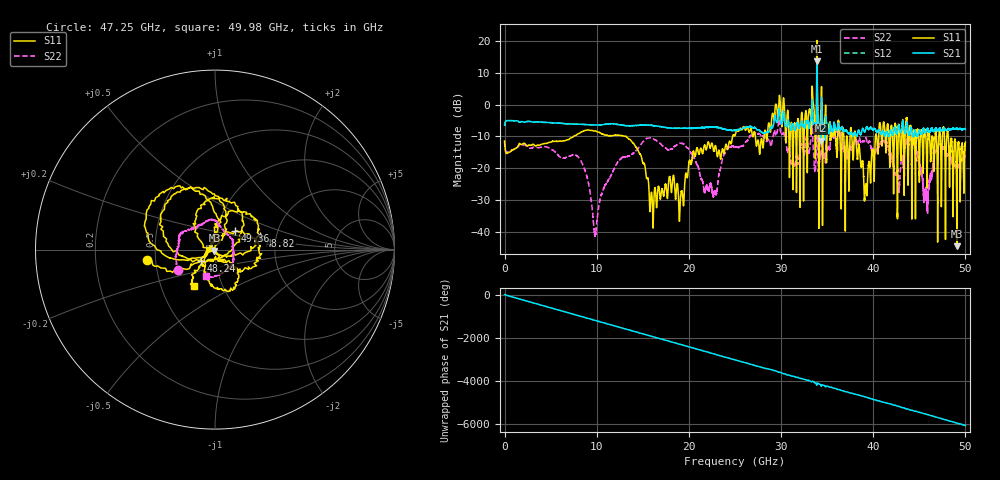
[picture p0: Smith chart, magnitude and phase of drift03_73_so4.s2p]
!Created with skrf (http://scikit-rf.org).
# Hz S RI R 50.0
!freq ReS11 ImS11 ReS21 ImS21 ReS12 ImS12 ReS22 ImS22
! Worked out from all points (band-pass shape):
!   10001 points, 300 kHz to 50 GHz, reference 50 ohm
!   highest |S21| = 13.59 dB at 33.9 GHz (marker M1); lowest = -11.3 dB at 34.32 GHz (marker M2)
!   |S21| within 3 dB of the highest: 33.89011 GHz to 33.9041 GHz (13.99 MHz wide, 0.0413 % of centre)
!   lowest |S11| = -44.6 dB at 49.07 GHz (marker M3), VSWR 1.01, Z = 49.7 - j0.504 ohm
!   |S11| at or under -10 dB: start of sweep to 7.486 GHz; 13.13 GHz to 24.74 GHz (11.62 GHz wide, 61.3 % of centre); 38.09 GHz to 40.25 GHz (2.159 GHz wide, 5.51 % of centre) (the widest 3 of 53)
!   |S22| runs from -41.4 to 6.1 dB; largest |S21 - S12| = 0.34
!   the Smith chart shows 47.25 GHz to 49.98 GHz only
!   S11 on the Smith chart (normalised r, x): 47.25 GHz: 0.45, -0.06; 48.24 GHz: 0.85, -0.11; 48.82 GHz: 1.64, +0.26; 49.36 GHz: 1.22, +0.25; 49.98 GHz: 0.73, -0.32
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300000  -0.2365 -0.125  0.4647 0.082  0.4639 0.0841  -0.2289 -0.1304
1.440291e9  0.2102 0.0647  -0.5479 -0.0296  -0.5481 -0.0291  0.2114 -0.00414
2.915283e9  -0.2123 -0.0879  0.5343 0.0518  0.5344 0.0516  -0.2015 0.0403
4.415274e9  0.2057 0.1322  -0.5218 -0.0421  -0.5217 -0.0426  0.1988 -0.0872
8.33525e9  0.2886 -0.2335  0.1459 0.4661  0.1458 0.4664  -0.0724 -0.1017
9.835241e9  -0.3655 0.1223  -0.1386 -0.4556  -0.1384 -0.4556  0.00834 0.00256
1.66702e10  0.0272 0.043  -0.3786 0.2532  -0.3787 0.2531  -0.1289 -0.2204
2.500015e10  -0.3265 -0.0147  -0.2546 -0.2969  -0.2537 -0.2989  -0.2142 0.0294
2.895013e10  -0.3215 0.4222  -0.2922 0.3242  -0.3047 0.2866  0.0615 0.2204
3.006512e10  0.3997 0.2688  0.4514 -0.1961  0.455 -0.1821  0.1767 -0.2965
3.171011e10  -0.092 0.1887  -0.3623 0.3572  -0.3624 0.3563  0.0666 0.1596
3.33351e10  0.6672 -0.7977  0.2713 -0.8516  0.2701 -0.8316  -0.1844 -0.4296
3.38951e10  -1.958 -9.997  -4.745 0.5823  -4.464 0.7738  0.4153 1.965
3.432009e10  -0.7775 -0.00268  -0.1809 0.2015  -0.2434 0.18  0.1426 -0.0755
4.167005e10  -0.2059 0.2994  0.3156 0.00193  0.3166 0.00951  -0.1926 -0.00959
4.725002e10  -0.3774 -0.0589  0.298 0.3068  0.2974 0.3023  -0.2082 -0.1109
4.824001e10  -0.0768 -0.0639  0.1104 -0.3948  0.1121 -0.3957  -0.0149 0.1657
4.881501e10  0.2509 0.0744  -0.3531 -0.2225  -0.3522 -0.2166  0.0981 0.0519
4.907001e10  -0.00304 -0.00507  -0.4194 -0.0199  -0.4232 -0.0221  0.0986 0.0119
4.936e10  0.1095 0.1016  -0.3538 0.22  -0.3516 0.2192  0.1049 -0.052
4.998e10  -0.117 -0.2043  0.1206 0.3931  0.1217 0.3911  -0.0482 -0.1472
5e10  -0.1175 -0.227  0.139 0.3859  0.1416 0.3813  -0.0531 -0.1442
